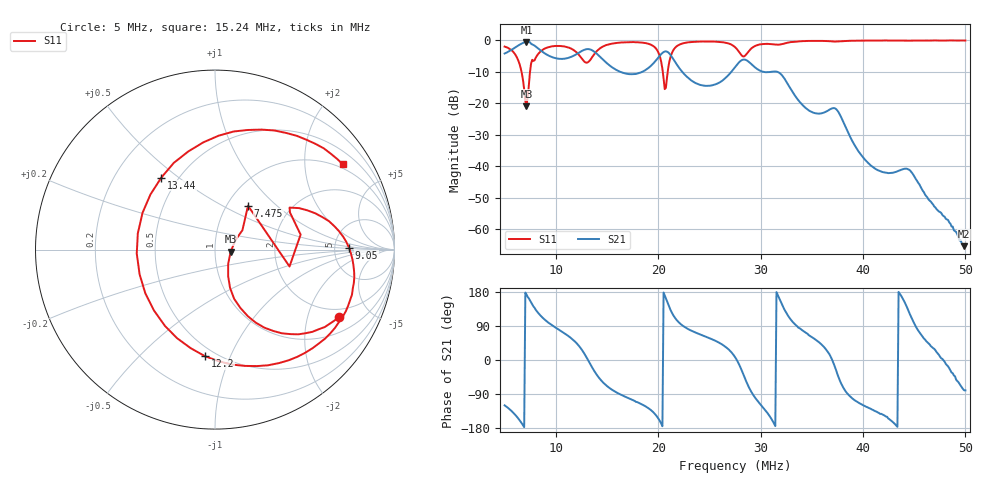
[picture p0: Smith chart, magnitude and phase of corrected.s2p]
! S11/S21 only; reverse parameters are placeholders. Device calibration unverified.
! [Saver CAL applied] C:\Users\aknya\MyProjects\rf-simulator\calibration2.cal | Ideal standards assumed | Input: NanoVNA F V2 profile | COM3 | 2026-09-08T11:19:43.1295745-04:00 | device calibration unverified
# HZ S RI R 50
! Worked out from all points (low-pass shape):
!   401 points, 5 MHz to 50 MHz, reference 50 ohm
!   highest |S21| = -0.66 dB at 7.138 MHz (marker M1); lowest = -65.4 dB at 49.89 MHz (marker M2)
!   |S21| within 3 dB of the highest: 5.404 MHz to 8.659 MHz (3.255 MHz wide, 46.3 % of centre); 12.45 MHz to 13.73 MHz (1.274 MHz wide, 9.73 % of centre)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
!   lowest |S11| = -21.1 dB at 7.138 MHz (marker M3), VSWR 1.19, Z = 59.6 - j1.41 ohm
!   |S11| at or under -10 dB: 6.644 MHz to 7.486 MHz (842.3 kHz wide, 11.9 % of centre); 20.44 MHz to 20.93 MHz (490.8 kHz wide, 2.37 % of centre)
!   S12 and S22 are empty: the file has one direction only
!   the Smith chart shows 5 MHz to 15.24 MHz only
!   S11 on the Smith chart (normalised r, x): 5 MHz: 1.60, -3.16; 7.475 MHz: 1.25, +0.67; 9.05 MHz: 6.87, +0.33; 12.2 MHz: 0.44, -0.81; 13.44 MHz: 0.41, +0.43; 15.24 MHz: 0.86, +3.06
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5000000  0.6894 -0.3778  -0.3015 -0.53  0 0  0 0
7137500  0.0874 -0.0117  -0.9201 0.1149  0 0  0 0
7475000  0.1839 0.2446  -0.8486 0.3545  0 0  0 0
9050000  0.7463 0.0107  -0.1385 0.578  0 0  0 0
1.22e7  -0.0562 -0.5937  0.4812 0.3916  0 0  0 0
1.25375e7  -0.2785 -0.4256  0.5949 0.3055  0 0  0 0
1.34375e7  -0.2988 0.4016  0.6777 -0.1734  0 0  0 0
1.52375e7  0.7105 0.4768  0.1108 -0.3805  0 0  0 0
1.81625e7  0.899 -0.1706  -0.1215 -0.2743  0 0  0 0
2.0075e7  0.3965 -0.4515  -0.4987 -0.212  0 0  0 0
2.06375e7  0.1462 -0.0792  -0.6464 0.1098  0 0  0 0
2.13125e7  0.5434 0.2695  -0.3203 0.4413  0 0  0 0
2.3225e7  0.9182 -0.1364  0.0488 0.2232  0 0  0 0
2.75e7  0.5512 -0.5378  0.366 0.0507  0 0  0 0
2.885e7  0.6292 -0.2106  0.1413 -0.4267  0 0  0 0
3.1325e7  0.7147 -0.4578  -0.3098 -0.0641  0 0  0 0
3.50375e7  0.7041 -0.6613  0.036 0.0619  0 0  0 0
3.74e7  0.6048 -0.7252  0.0697 -0.0383  0 0  0 0
4.2575e7  0.4365 -0.8753  -0.00711 -0.00314  0 0  0 0
4.46e7  0.3576 -0.9082  -0.00422 0.00743  0 0  0 0
4.98875e7  0.1594 -0.9657  9.24e-05 -0.000531  0 0  0 0
5e7  0.1569 -0.9677  9.53e-05 -0.00055  0 0  0 0
